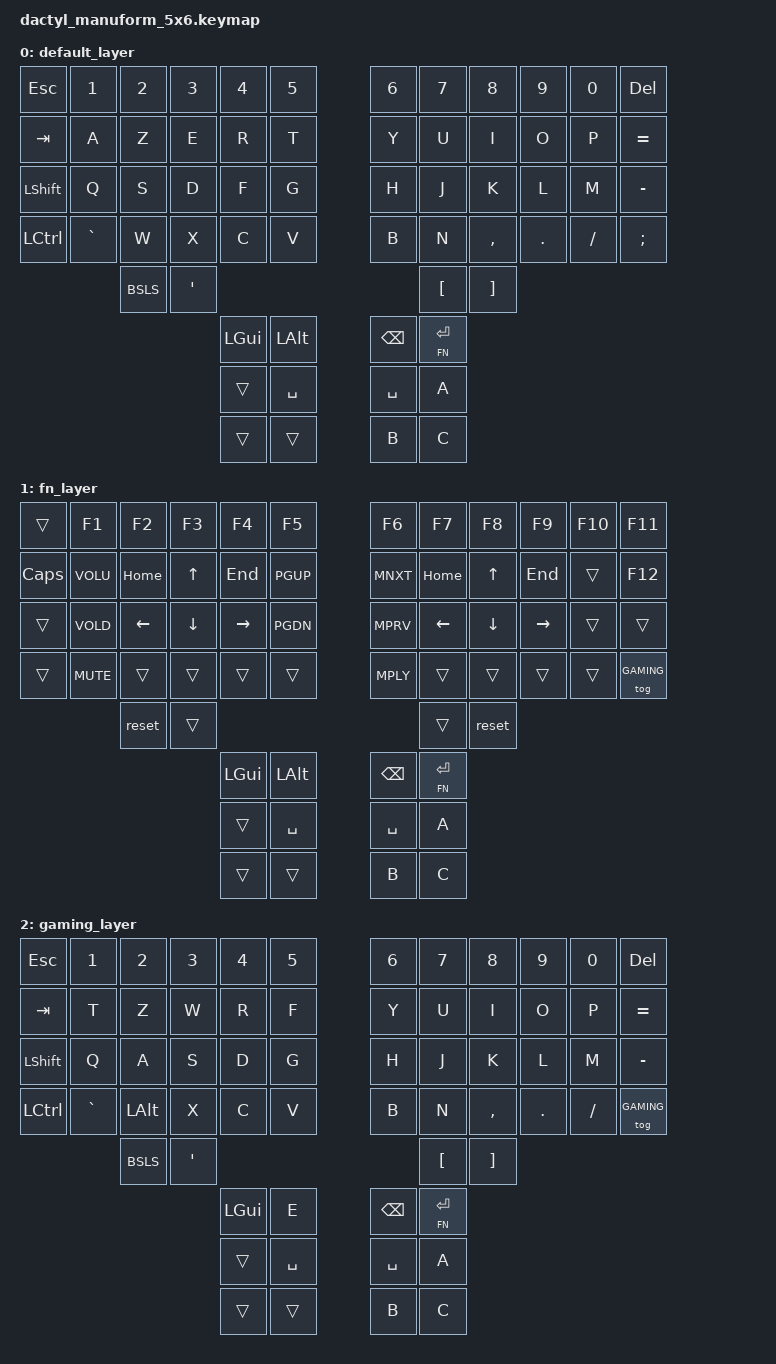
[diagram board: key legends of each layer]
#include <behaviors.dtsi>
#include <dt-bindings/zmk/keys.h>
#include <dt-bindings/zmk/bt.h>
#include <dt-bindings/zmk/outputs.h>

#define QWERTY 0
#define FN 1
#define GAMING 2

/ {
    keymap {
        compatible = "zmk,keymap";

        default_layer {
            bindings = <
                &kp ESC    &kp N1    &kp N2    &kp N3    &kp N4    &kp N5                &kp N6    &kp N7    &kp N8    &kp N9    &kp N0    &kp DEL
                &kp TAB    &kp A     &kp Z     &kp E     &kp R     &kp T                 &kp Y     &kp U     &kp I     &kp O     &kp P     &kp EQUAL
                &kp LSHFT  &kp Q     &kp S     &kp D     &kp F     &kp G                 &kp H     &kp J     &kp K     &kp L     &kp M     &kp MINUS
                &kp LCTRL  &kp GRAVE &kp W     &kp X     &kp C     &kp V                 &kp B     &kp N     &kp COMMA &kp DOT   &kp FSLH  &kp SEMI
                                      &kp BSLS &kp SQT                                             &kp LBKT  &kp RBKT
                                                       &kp LGUI &kp LALT                 &kp BSPC  &lt FN ENTER
                                                       &trans   &kp SPACE                &kp SPACE &kp A
                                                       &trans   &trans                   &kp B     &kp C
            >;
        };

        fn_layer {
            bindings = <
                &trans   &kp F1   &kp F2    &kp F3   &kp F4    &kp F5                  &kp F6    &kp F7    &kp F8    &kp F9    &kp F10   &kp F11
                &kp CAPS &kp VOLU &kp HOME  &kp UP   &kp END   &kp PGUP                &kp MNXT  &kp HOME  &kp UP    &kp END   &trans    &kp F12
                &trans   &kp VOLD &kp LEFT  &kp DOWN &kp RIGHT &kp PGDN                &kp MPRV  &kp LEFT  &kp DOWN  &kp RIGHT &trans    &trans
                &trans   &kp MUTE &trans    &trans   &trans    &trans                  &kp MPLY  &trans    &trans    &trans    &trans    &tog GAMING
                                      &reset &trans                                                 &trans   &reset
                                                    &kp LGUI &kp LALT                  &kp BSPC  &lt FN ENTER
                                                    &trans   &kp SPACE                 &kp SPACE &kp A
                                                    &trans   &trans                    &kp B     &kp C
            >;
        };

        gaming_layer {
            bindings = <
                &kp ESC    &kp N1    &kp N2    &kp N3    &kp N4    &kp N5                &kp N6    &kp N7    &kp N8    &kp N9    &kp N0    &kp DEL
                &kp TAB    &kp T     &kp Z     &kp W     &kp R     &kp F                 &kp Y     &kp U     &kp I     &kp O     &kp P     &kp EQUAL
                &kp LSHFT  &kp Q     &kp A     &kp S     &kp D     &kp G                 &kp H     &kp J     &kp K     &kp L     &kp M     &kp MINUS
                &kp LCTRL  &kp GRAVE &kp LALT  &kp X     &kp C     &kp V                 &kp B     &kp N     &kp COMMA &kp DOT   &kp FSLH  &tog GAMING
                                      &kp BSLS &kp SQT                                               &kp LBKT  &kp RBKT
                                                        &kp LGUI &kp E                 &kp BSPC  &lt FN ENTER
                                                        &trans   &kp SPACE             &kp SPACE &kp A
                                                        &trans   &trans                &kp B     &kp C
            >;
        };
    };
};
